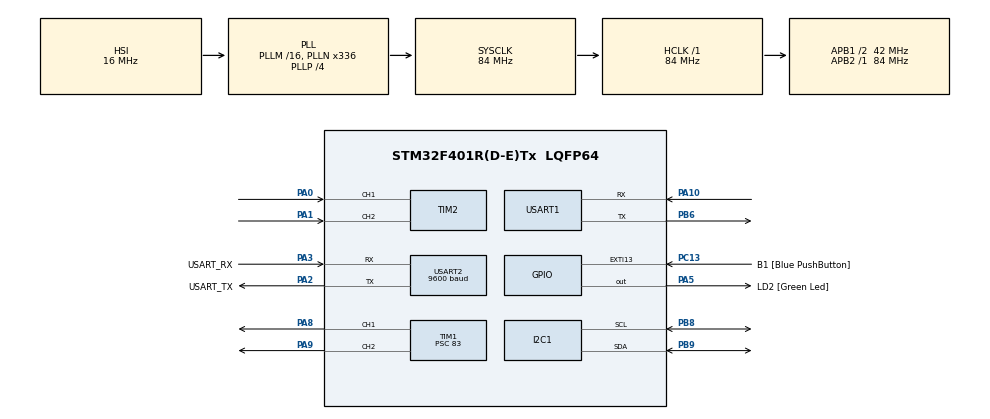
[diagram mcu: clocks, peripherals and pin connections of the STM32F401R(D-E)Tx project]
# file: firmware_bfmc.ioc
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I2C1.I2C_Mode=I2C_Fast
Mcu.Family=STM32F4
Mcu.Name=STM32F401R(D-E)Tx
Mcu.Package=LQFP64
NVIC.PriorityGroup=NVIC_PRIORITYGROUP_4
NVIC.TIM4_IRQn=true\:0\:0\:false\:false\:true\:true\:true\:true
NVIC.USART1_IRQn=true\:0\:0\:false\:false\:true\:true\:true\:true
PA0-WKUP.Signal=S_TIM2_CH1_ETR
PA1.Signal=S_TIM2_CH2
PA10.Mode=Asynchronous
PA10.Signal=USART1_RX
PA13.GPIO_Label=TMS
PA13.Mode=Trace_Asynchronous_SW
PA13.Signal=SYS_JTMS-SWDIO
PA14.GPIO_Label=TCK
PA14.Mode=Trace_Asynchronous_SW
PA14.Signal=SYS_JTCK-SWCLK
PA2.GPIO_Label=USART_TX
PA2.GPIO_Mode=GPIO_MODE_AF_PP
PA2.GPIO_PuPd=GPIO_NOPULL
PA2.GPIO_Speed=GPIO_SPEED_FREQ_LOW
PA2.Mode=Asynchronous
PA2.Signal=USART2_TX
PA3.GPIO_Label=USART_RX
PA3.GPIO_Mode=GPIO_MODE_AF_PP
PA3.GPIO_PuPd=GPIO_NOPULL
PA3.GPIO_Speed=GPIO_SPEED_FREQ_LOW
PA3.Mode=Asynchronous
PA3.Signal=USART2_RX
PA5.GPIO_Label=LD2 [Green Led]
PA5.GPIO_Mode=GPIO_MODE_OUTPUT_PP
PA5.GPIO_PuPd=GPIO_NOPULL
PA5.GPIO_Speed=GPIO_SPEED_FREQ_LOW
PA5.Signal=GPIO_Output
PA8.Signal=S_TIM1_CH1
PA9.Signal=S_TIM1_CH2
PB3.GPIO_Label=SWO
PB3.Mode=Trace_Asynchronous_SW
PB3.Signal=SYS_JTDO-SWO
PB6.Mode=Asynchronous
PB6.Signal=USART1_TX
PB8.Mode=I2C
PB8.Signal=I2C1_SCL
PB9.Mode=I2C
PB9.Signal=I2C1_SDA
PC13-ANTI_TAMP.GPIO_Label=B1 [Blue PushButton]
PC13-ANTI_TAMP.GPIO_ModeDefaultEXTI=GPIO_MODE_IT_FALLING
PC13-ANTI_TAMP.GPIO_PuPd=GPIO_NOPULL
PC13-ANTI_TAMP.Signal=GPXTI13
PC14-OSC32_IN.Mode=LSE-External-Oscillator
PC14-OSC32_IN.Signal=RCC_OSC32_IN
PC15-OSC32_OUT.Mode=LSE-External-Oscillator
PC15-OSC32_OUT.Signal=RCC_OSC32_OUT
PH0\ -\ OSC_IN.Mode=HSE-External-Clock-Source
PH0\ -\ OSC_IN.Signal=RCC_OSC_IN
PH1\ -\ OSC_OUT.Mode=HSE-External-Clock-Source
PH1\ -\ OSC_OUT.Signal=RCC_OSC_OUT
ProjectManager.HeapSize=0x200
ProjectManager.StackSize=0x400
ProjectManager.TargetToolchain=CMake
RCC.48MHZClocksFreq_Value=48000000
RCC.AHBFreq_Value=84000000
RCC.APB1CLKDivider=RCC_HCLK_DIV2
RCC.APB1Freq_Value=42000000
RCC.APB1TimFreq_Value=84000000
RCC.APB2Freq_Value=84000000
RCC.APB2TimFreq_Value=84000000
RCC.CortexFreq_Value=84000000
RCC.HCLKFreq_Value=84000000
RCC.HSE_VALUE=8000000
RCC.HSI_VALUE=16000000
RCC.PLLN=336
RCC.PLLP=RCC_PLLP_DIV4
RCC.PLLQ=7
RCC.SYSCLKFreq_VALUE=84000000
RCC.SYSCLKSource=RCC_SYSCLKSOURCE_PLLCLK
RCC.VCOOutputFreq_Value=336000000
SH.S_TIM1_CH1.0=TIM1_CH1,PWM Generation1 CH1
SH.S_TIM1_CH2.0=TIM1_CH2,PWM Generation2 CH2
SH.S_TIM2_CH1_ETR.0=TIM2_CH1,Encoder_Interface
SH.S_TIM2_CH2.0=TIM2_CH2,Encoder_Interface
TIM1.AutoReloadPreload=TIM_AUTORELOAD_PRELOAD_ENABLE
TIM1.Channel-PWM\ Generation1\ CH1=TIM_CHANNEL_1
TIM1.Channel-PWM\ Generation2\ CH2=TIM_CHANNEL_2
TIM1.Period=19999
TIM1.Prescaler=83
TIM1.Pulse-PWM\ Generation1\ CH1=1500
TIM1.Pulse-PWM\ Generation2\ CH2=1500
TIM2.EncoderMode=TIM_ENCODERMODE_TI12
TIM2.IC1Filter=5
TIM2.IC2Filter=5
TIM4.AutoReloadPreload=TIM_AUTORELOAD_PRELOAD_ENABLE
TIM4.Period=999
TIM4.Prescaler=839
USART1.VirtualMode=VM_ASYNC
USART2.BaudRate=9600
USART2.VirtualMode=VM_ASYNC
VP_TIM4_VS_ClockSourceINT.Mode=Internal
board=NUCLEO-F401RE

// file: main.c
/* USER CODE BEGIN Header */
/**
  ******************************************************************************
  * @file           : main.c
  * @brief          : Main program body
  ******************************************************************************
  * @attention
  *
  * Copyright (c) 2026 STMicroelectronics.
  * All rights reserved.
  *
  * This software is licensed under terms that can be found in the LICENSE file
  * in the root directory of this software component.
  * If no LICENSE file comes with this software, it is provided AS-IS.
  *
  ******************************************************************************
  */
/* USER CODE END Header */
#include "main.h"
#include <stdio.h>

/* USER CODE BEGIN PTD */

typedef struct {
    float Kp, Ki, Kd, Kf;
    float error_prev;
    float integral;
} PID_TypeDef;

typedef enum {
    PARK_IDLE,
    PARK_SEARCHING,
    PARK_POSITIONING,
    PARK_REVERSING,
    PARK_FINISHED
} ParkingState;

/* USER CODE END PTD */

/* USER CODE BEGIN PD */
#define BNO055_ADDR (0x28 << 1)  //
#define BNO055_OPR_MODE_REG 0x3D
#define BNO055_EULER_H_LSB 0x1A // yaw register
#define NDOF_MODE 0x0C
/* USER CODE END PD */

I2C_HandleTypeDef hi2c1;

TIM_HandleTypeDef htim1;
TIM_HandleTypeDef htim2;
TIM_HandleTypeDef htim4;

UART_HandleTypeDef huart1;
UART_HandleTypeDef huart2;

/* USER CODE BEGIN PV */
float current_setpoint = 0;
#define ACCEL_STEP 2.5f

uint32_t blinker_tick = 0;

uint8_t rpi_rx_buffer[9];
uint32_t last_rpi_tick = 0;
uint8_t us100_buffer[2];
uint16_t distance_mm = 0;
int32_t encoder_count = 9;

float target_speed = 0;
float target_angle = 0;

PID_TypeDef motorPID = {1.2f, 0.5f, 0.01f, 1500.0f};
ParkingState current_park_state = PARK_IDLE;

float actual_speed = 0;
uint32_t servo_pwm = 1500; // 1500 is center
uint32_t motor_pwm = 1500; // Neutral

float current_yaw = 0.0f;
float start_yaw = 0;
/* USER CODE END PV */

void SystemClock_Config(void);
static void MX_GPIO_Init(void);
static void MX_USART2_UART_Init(void);
static void MX_TIM1_Init(void);
static void MX_TIM2_Init(void);
static void MX_TIM4_Init(void);
static void MX_USART1_UART_Init(void);
static void MX_I2C1_Init(void);

/* USER CODE BEGIN 0 */
float get_distance_mm() {
    int16_t ticks = (int16_t)__HAL_TIM_GET_COUNTER(&htim2);
    return (ticks / 330.0f) * 204.2f; //circumference of wheel
}

float ComputePID(float target, float actual, PID_TypeDef *pid) {
    float error = target - actual;
    pid->integral += error * 0.01f;

    // Anti-windup: Stop integral from growing too large if car is stuck
    if(pid->integral > 500) pid->integral = 500;
    if(pid->integral < -500) pid->integral = -500;

    float derivative = (error - pid->error_prev) / 0.01f;

    // Output = FeedForward + PID terms
    float output = pid->Kf + (pid->Kp * error) + (pid->Ki * pid->integral) + (pid->Kd * derivative);
    pid->error_prev = error;

    // ESC Safety Clamps (Standard RC range is 1000us to 2000us)
    if(output > 2000) output = 2000;
    if(output < 1000) output = 1000;

    return output;
}

void BNO055_Init() {
    uint8_t data = NDOF_MODE;
    HAL_I2C_Mem_Write(&hi2c1, BNO055_ADDR, BNO055_OPR_MODE_REG, 1, &data, 1, 100);
    HAL_Delay(50);
}

void Read_BNO055_Yaw() {
    uint8_t buffer[2];
    if (HAL_I2C_Mem_Read(&hi2c1, BNO055_ADDR, BNO055_EULER_H_LSB, 1, buffer, 2, 100) == HAL_OK) {
        int16_t raw_yaw = (buffer[1] << 8) | buffer[0];
        current_yaw = raw_yaw / 16.0f; // BNO055 returns 1/16th degrees
    }
}

void Send_Telemetry() {
    char debug_msg[64];
    // Format: Speed, Yaw, Distance, Current State
    int len = sprintf(debug_msg, "V:%.1f Y:%.1f D:%d S:%d\r\n",
                      actual_speed, current_yaw, distance_mm, current_park_state);

    // Send via USART1 (The RPi connection)
    HAL_UART_Transmit(&huart1, (uint8_t*)debug_msg, len, 100);
}
/* USER CODE END 0 */

int main(void)
{

  /* MCU Configuration--------------------------------------------------------*/

  /* Reset of all peripherals, Initializes the Flash interface and the S	ystick. */
  HAL_Init();

  /* Configure the system clock */
  SystemClock_Config();

  /* Initialize all configured peripherals */
  MX_GPIO_Init();
  MX_USART2_UART_Init();
  MX_TIM1_Init();
  MX_TIM2_Init();
  MX_TIM4_Init();
  MX_USART1_UART_Init();
  MX_I2C1_Init();
  /* USER CODE BEGIN 2 */
  HAL_TIM_Base_Start_IT(&htim4);
  HAL_TIM_PWM_Start(&htim1,TIM_CHANNEL_1);
  HAL_TIM_PWM_Start(&htim1, TIM_CHANNEL_2);
  HAL_TIM_Encoder_Start(&htim2,TIM_CHANNEL_ALL);
  HAL_UART_Receive_DMA(&huart1,rpi_rx_buffer,8);
  BNO055_Init();
  /* USER CODE END 2 */

  /* Infinite loop */
  /* USER CODE BEGIN WHILE */
  while (1)
    {
        /* 1. SENSOR UPDATES (Orientation) */
        Read_BNO055_Yaw();

        /* 2. ULTRASONIC TRIGGER (Non-Blocking) */
        // We trigger the US-100 every 100ms.
        // The result is handled automatically by HAL_UART_RxCpltCallback.
        static uint32_t last_us_trigger = 0;
        if(HAL_GetTick() - last_us_trigger > 100) {
            uint8_t trigger = 0x55;
            HAL_UART_Transmit(&huart2, &trigger, 1, 10);
            HAL_UART_Receive_IT(&huart2, us100_buffer, 2);
            last_us_trigger = HAL_GetTick();
        }

        /* 3. BFMC PARKING STATE MACHINE */
        switch (current_park_state) {
            case PARK_IDLE:
                // Standing by for RPi command to start searching
                break;

            case PARK_SEARCHING:
                target_speed = 100.0f; // Drive slowly at 100mm/s
                target_angle = 0;      // Keep wheels straight

                // If the side sensor sees a gap larger than 500mm
                if (distance_mm > 500) {
                    __HAL_TIM_SET_COUNTER(&htim2, 0); // Reset Odometry
                    current_park_state = PARK_POSITIONING;
                }
                break;

            case PARK_POSITIONING:
                // Drive forward until we clear the parking spot (approx 300mm)
                if (get_distance_mm() > 300.0f) {
                    target_speed = 0;
                    start_yaw = current_yaw;
                    HAL_Delay(500); // Brief pause to settle
                    current_park_state = PARK_REVERSING;
                }
                break;

            case PARK_REVERSING:
                target_angle = -30.0f;  // Hard steer into the spot
                target_speed = -100.0f; // Reverse slowly

                // Calculate relative turn angle (handling 360 wrap-around)
                float turned = current_yaw - start_yaw;
                if (turned > 180)  turned -= 360;
                if (turned < -180) turned += 360;

                // Stop once the car has rotated 45 degrees
                if (turned >= 45.0f || turned <= -45.0f) {
                    current_park_state = PARK_FINISHED;
                }
                break;

            case PARK_FINISHED:
                target_speed = 0;
                target_angle = 0; // Straighten wheels
                break;
        }

        /* 4. DATA FEEDBACK */
        // Send Speed, Yaw, and Distance back to Raspberry Pi for processing
        Send_Telemetry();

        /* 5. LOOP STABILITY */
        // A small delay to keep the loop from hogging 100% CPU,
        // allowing the interrupts (DMA/Timers) to breathe.
        HAL_Delay(10);

      /* USER CODE END WHILE */

    }
}

void SystemClock_Config(void)
{
  RCC_OscInitTypeDef RCC_OscInitStruct = {0};
  RCC_ClkInitTypeDef RCC_ClkInitStruct = {0};

  /** Configure the main internal regulator output voltage
  */
  __HAL_RCC_PWR_CLK_ENABLE();
  __HAL_PWR_VOLTAGESCALING_CONFIG(PWR_REGULATOR_VOLTAGE_SCALE2);

  /** Initializes the RCC Oscillators according to the specified parameters
  * in the RCC_OscInitTypeDef structure.
  */
  RCC_OscInitStruct.OscillatorType = RCC_OSCILLATORTYPE_HSI;
  RCC_OscInitStruct.HSIState = RCC_HSI_ON;
  RCC_OscInitStruct.HSICalibrationValue = RCC_HSICALIBRATION_DEFAULT;
  RCC_OscInitStruct.PLL.PLLState = RCC_PLL_ON;
  RCC_OscInitStruct.PLL.PLLSource = RCC_PLLSOURCE_HSI;
  RCC_OscInitStruct.PLL.PLLM = 16;
  RCC_OscInitStruct.PLL.PLLN = 336;
  RCC_OscInitStruct.PLL.PLLP = RCC_PLLP_DIV4;
  RCC_OscInitStruct.PLL.PLLQ = 7;
  if (HAL_RCC_OscConfig(&RCC_OscInitStruct) != HAL_OK)
  {
    Error_Handler();
  }

  /** Initializes the CPU, AHB and APB buses clocks
  */
  RCC_ClkInitStruct.ClockType = RCC_CLOCKTYPE_HCLK|RCC_CLOCKTYPE_SYSCLK
                              |RCC_CLOCKTYPE_PCLK1|RCC_CLOCKTYPE_PCLK2;
  RCC_ClkInitStruct.SYSCLKSource = RCC_SYSCLKSOURCE_PLLCLK;
  RCC_ClkInitStruct.AHBCLKDivider = RCC_SYSCLK_DIV1;
  RCC_ClkInitStruct.APB1CLKDivider = RCC_HCLK_DIV2;
  RCC_ClkInitStruct.APB2CLKDivider = RCC_HCLK_DIV1;

  if (HAL_RCC_ClockConfig(&RCC_ClkInitStruct, FLASH_LATENCY_2) != HAL_OK)
  {
    Error_Handler();
  }
}

static void MX_I2C1_Init(void)
{

  hi2c1.Instance = I2C1;
  hi2c1.Init.ClockSpeed = 400000;
  hi2c1.Init.DutyCycle = I2C_DUTYCYCLE_2;
  hi2c1.Init.OwnAddress1 = 0;
  hi2c1.Init.AddressingMode = I2C_ADDRESSINGMODE_7BIT;
  hi2c1.Init.DualAddressMode = I2C_DUALADDRESS_DISABLE;
  hi2c1.Init.OwnAddress2 = 0;
  hi2c1.Init.GeneralCallMode = I2C_GENERALCALL_DISABLE;
  hi2c1.Init.NoStretchMode = I2C_NOSTRETCH_DISABLE;
  if (HAL_I2C_Init(&hi2c1) != HAL_OK)
  {
    Error_Handler();
  }

}

static void MX_TIM1_Init(void)
{

  TIM_MasterConfigTypeDef sMasterConfig = {0};
  TIM_OC_InitTypeDef sConfigOC = {0};
  TIM_BreakDeadTimeConfigTypeDef sBreakDeadTimeConfig = {0};

  htim1.Instance = TIM1;
  htim1.Init.Prescaler = 83;
  htim1.Init.CounterMode = TIM_COUNTERMODE_UP;
  htim1.Init.Period = 19999;
  htim1.Init.ClockDivision = TIM_CLOCKDIVISION_DIV1;
  htim1.Init.RepetitionCounter = 0;
  htim1.Init.AutoReloadPreload = TIM_AUTORELOAD_PRELOAD_DISABLE;
  if (HAL_TIM_PWM_Init(&htim1) != HAL_OK)
  {
    Error_Handler();
  }
  sMasterConfig.MasterOutputTrigger = TIM_TRGO_RESET;
  sMasterConfig.MasterSlaveMode = TIM_MASTERSLAVEMODE_DISABLE;
  if (HAL_TIMEx_MasterConfigSynchronization(&htim1, &sMasterConfig) != HAL_OK)
  {
    Error_Handler();
  }
  sConfigOC.OCMode = TIM_OCMODE_PWM1;
  sConfigOC.Pulse = 0;
  sConfigOC.OCPolarity = TIM_OCPOLARITY_HIGH;
  sConfigOC.OCNPolarity = TIM_OCNPOLARITY_HIGH;
  sConfigOC.OCFastMode = TIM_OCFAST_DISABLE;
  sConfigOC.OCIdleState = TIM_OCIDLESTATE_RESET;
  sConfigOC.OCNIdleState = TIM_OCNIDLESTATE_RESET;
  if (HAL_TIM_PWM_ConfigChannel(&htim1, &sConfigOC, TIM_CHANNEL_1) != HAL_OK)
  {
    Error_Handler();
  }
  if (HAL_TIM_PWM_ConfigChannel(&htim1, &sConfigOC, TIM_CHANNEL_2) != HAL_OK)
  {
    Error_Handler();
  }
  sBreakDeadTimeConfig.OffStateRunMode = TIM_OSSR_DISABLE;
  sBreakDeadTimeConfig.OffStateIDLEMode = TIM_OSSI_DISABLE;
  sBreakDeadTimeConfig.LockLevel = TIM_LOCKLEVEL_OFF;
  sBreakDeadTimeConfig.DeadTime = 0;
  sBreakDeadTimeConfig.BreakState = TIM_BREAK_DISABLE;
  sBreakDeadTimeConfig.BreakPolarity = TIM_BREAKPOLARITY_HIGH;
  sBreakDeadTimeConfig.AutomaticOutput = TIM_AUTOMATICOUTPUT_DISABLE;
  if (HAL_TIMEx_ConfigBreakDeadTime(&htim1, &sBreakDeadTimeConfig) != HAL_OK)
  {
    Error_Handler();
  }
  HAL_TIM_MspPostInit(&htim1);

}

static void MX_TIM2_Init(void)
{

  TIM_Encoder_InitTypeDef sConfig = {0};
  TIM_MasterConfigTypeDef sMasterConfig = {0};

  htim2.Instance = TIM2;
  htim2.Init.Prescaler = 0;
  htim2.Init.CounterMode = TIM_COUNTERMODE_UP;
  htim2.Init.Period = 4294967295;
  htim2.Init.ClockDivision = TIM_CLOCKDIVISION_DIV1;
  htim2.Init.AutoReloadPreload = TIM_AUTORELOAD_PRELOAD_DISABLE;
  sConfig.EncoderMode = TIM_ENCODERMODE_TI12;
  sConfig.IC1Polarity = TIM_ICPOLARITY_RISING;
  sConfig.IC1Selection = TIM_ICSELECTION_DIRECTTI;
  sConfig.IC1Prescaler = TIM_ICPSC_DIV1;
  sConfig.IC1Filter = 0;
  sConfig.IC2Polarity = TIM_ICPOLARITY_RISING;
  sConfig.IC2Selection = TIM_ICSELECTION_DIRECTTI;
  sConfig.IC2Prescaler = TIM_ICPSC_DIV1;
  sConfig.IC2Filter = 0;
  if (HAL_TIM_Encoder_Init(&htim2, &sConfig) != HAL_OK)
  {
    Error_Handler();
  }
  sMasterConfig.MasterOutputTrigger = TIM_TRGO_RESET;
  sMasterConfig.MasterSlaveMode = TIM_MASTERSLAVEMODE_DISABLE;
  if (HAL_TIMEx_MasterConfigSynchronization(&htim2, &sMasterConfig) != HAL_OK)
  {
    Error_Handler();
  }

}

static void MX_TIM4_Init(void)
{

  TIM_ClockConfigTypeDef sClockSourceConfig = {0};
  TIM_MasterConfigTypeDef sMasterConfig = {0};

  htim4.Instance = TIM4;
  htim4.Init.Prescaler = 839;
  htim4.Init.CounterMode = TIM_COUNTERMODE_UP;
  htim4.Init.Period = 999;
  htim4.Init.ClockDivision = TIM_CLOCKDIVISION_DIV1;
  htim4.Init.AutoReloadPreload = TIM_AUTORELOAD_PRELOAD_ENABLE;
  if (HAL_TIM_Base_Init(&htim4) != HAL_OK)
  {
    Error_Handler();
  }
  sClockSourceConfig.ClockSource = TIM_CLOCKSOURCE_INTERNAL;
  if (HAL_TIM_ConfigClockSource(&htim4, &sClockSourceConfig) != HAL_OK)
  {
    Error_Handler();
  }
  sMasterConfig.MasterOutputTrigger = TIM_TRGO_RESET;
  sMasterConfig.MasterSlaveMode = TIM_MASTERSLAVEMODE_DISABLE;
  if (HAL_TIMEx_MasterConfigSynchronization(&htim4, &sMasterConfig) != HAL_OK)
  {
    Error_Handler();
  }

}

static void MX_USART1_UART_Init(void)
{

  huart1.Instance = USART1;
  huart1.Init.BaudRate = 115200;
  huart1.Init.WordLength = UART_WORDLENGTH_8B;
  huart1.Init.StopBits = UART_STOPBITS_1;
  huart1.Init.Parity = UART_PARITY_NONE;
  huart1.Init.Mode = UART_MODE_TX_RX;
  huart1.Init.HwFlowCtl = UART_HWCONTROL_NONE;
  huart1.Init.OverSampling = UART_OVERSAMPLING_16;
  if (HAL_UART_Init(&huart1) != HAL_OK)
  {
    Error_Handler();
  }

}

static void MX_USART2_UART_Init(void)
{

  huart2.Instance = USART2;
  huart2.Init.BaudRate = 9600;
  huart2.Init.WordLength = UART_WORDLENGTH_8B;
  huart2.Init.StopBits = UART_STOPBITS_1;
  huart2.Init.Parity = UART_PARITY_NONE;
  huart2.Init.Mode = UART_MODE_TX_RX;
  huart2.Init.HwFlowCtl = UART_HWCONTROL_NONE;
  huart2.Init.OverSampling = UART_OVERSAMPLING_16;
  if (HAL_UART_Init(&huart2) != HAL_OK)
  {
    Error_Handler();
  }

}

static void MX_GPIO_Init(void)
{
  GPIO_InitTypeDef GPIO_InitStruct = {0};

  /* GPIO Ports Clock Enable */
  __HAL_RCC_GPIOC_CLK_ENABLE();
  __HAL_RCC_GPIOH_CLK_ENABLE();
  __HAL_RCC_GPIOA_CLK_ENABLE();
  __HAL_RCC_GPIOB_CLK_ENABLE();

  /*Configure GPIO pin Output Level */
  HAL_GPIO_WritePin(LD2_GPIO_Port, LD2_Pin, GPIO_PIN_RESET);

  /*Configure GPIO pin : B1_Pin */
  GPIO_InitStruct.Pin = B1_Pin;
  GPIO_InitStruct.Mode = GPIO_MODE_IT_FALLING;
  GPIO_InitStruct.Pull = GPIO_NOPULL;
  HAL_GPIO_Init(B1_GPIO_Port, &GPIO_InitStruct);

  /*Configure GPIO pin : LD2_Pin */
  GPIO_InitStruct.Pin = LD2_Pin;
  GPIO_InitStruct.Mode = GPIO_MODE_OUTPUT_PP;
  GPIO_InitStruct.Pull = GPIO_NOPULL;
  GPIO_InitStruct.Speed = GPIO_SPEED_FREQ_LOW;
  HAL_GPIO_Init(LD2_GPIO_Port, &GPIO_InitStruct);

}

/* USER CODE BEGIN 4 */
void HAL_TIM_PeriodElapsedCallback(TIM_HandleTypeDef *htim) {
    if (htim->Instance == TIM4) {

        // A. Speed Ramping (Anti-Jerk)
        if (current_setpoint < target_speed) current_setpoint += ACCEL_STEP;
        else if (current_setpoint > target_speed) current_setpoint -= ACCEL_STEP;

        // B. Odometry (Encoder Calculation)
        int16_t ticks = (int16_t)__HAL_TIM_GET_COUNTER(&htim2);
        __HAL_TIM_SET_COUNTER(&htim2, 0);
        actual_speed = (ticks / 330.0f) * 204.2f * 100.0f;

        // C. BFMC Safety Stop
        if (distance_mm < 150 && target_speed > 0) {
            target_speed = 0;
            current_setpoint = 0; // Immediate override
        }

        // D. PID Motor Control
        if (target_speed != 0 || actual_speed > 5) {
            motor_pwm = (uint32_t)ComputePID(current_setpoint, actual_speed, &motorPID);
        } else {
            motor_pwm = 1500; // Hard neutral
            motorPID.integral = 0;
        }
        __HAL_TIM_SET_COMPARE(&htim1, TIM_CHANNEL_1, motor_pwm);

        // E. Servo & BFMC Signaling (Blinkers/Brakes)
        __HAL_TIM_SET_COMPARE(&htim1, TIM_CHANNEL_2, 1500 + (target_angle * 16.6f));

        blinker_tick++;
        if ((blinker_tick % 25) == 0) { // Every 250ms
            if (target_angle > 15.0f) HAL_GPIO_TogglePin(GPIOB, GPIO_PIN_1); // Right Signal
            if (target_angle < -15.0f) HAL_GPIO_TogglePin(GPIOB, GPIO_PIN_2); // Left Signal
        }
    }
}

void HAL_UART_RxCpltCallback(UART_HandleTypeDef *huart) {
    if(huart->Instance == USART1) { // Data from Raspberry Pi
        // Ensure the buffer is a valid C-string for sscanf
        rpi_rx_buffer[8] = '\0';

        // THE MISSING PIECE: Actually update the targets!
        sscanf((char*)rpi_rx_buffer, "S%fA%f", &target_speed, &target_angle);

        last_rpi_tick = HAL_GetTick();
        HAL_UART_Receive_DMA(&huart1, rpi_rx_buffer, 8); // Restart DMA
    }

    if(huart->Instance == USART2) { // Data from US-100
        distance_mm = (us100_buffer[0] << 8) | us100_buffer[1];
    }
}
/* USER CODE END 4 */
void Error_Handler(void)
{
  __disable_irq();
  while (1)
  {
  }
}
